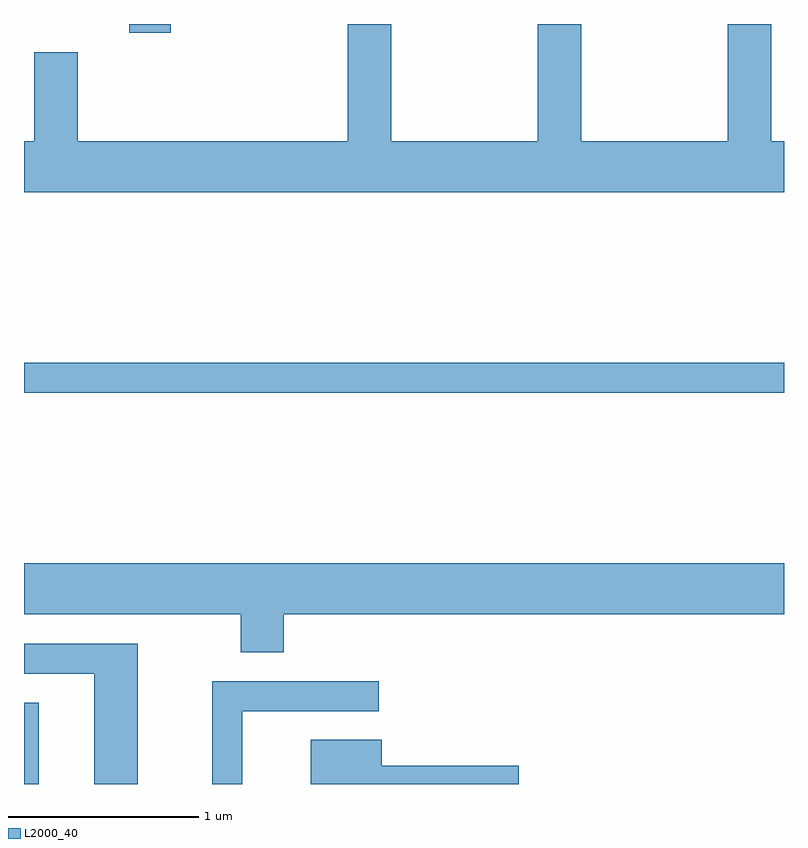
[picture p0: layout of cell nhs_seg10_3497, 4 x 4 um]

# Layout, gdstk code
import gdstk
lib = gdstk.Library(unit=1e-6, precision=1e-09)
def R(c, l, rs):  # rectangles x0, y0, x1, y1
    for r in rs: c.add(gdstk.rectangle(r[:2], r[2:], *l))
def P(c, l, *ps):  # polygons
    for p in ps: c.add(gdstk.Polygon(p, *l))
L2000_40 = (2000, 40)

nhs_seg10_3497 = lib.new_cell('nhs_seg10_3497')
R(nhs_seg10_3497, L2000_40, [(287.611,2168.522,287.689,2168.949), (287.611,2170.581,291.611,2170.739), (288.166,2172.476,288.384,2172.522)])
P(nhs_seg10_3497, L2000_40, [(291.611,2171.904),(291.544,2171.904),(291.544,2172.522),(291.316,2172.522),(291.316,2171.904),(290.544,2171.904),(290.544,2172.522),(290.316,2172.522),(290.316,2171.904),(289.544,2171.904),(289.544,2172.522),(289.316,2172.522),(289.316,2171.904),(287.894,2171.904),(287.894,2172.374),(287.666,2172.374),(287.666,2171.904),(287.611,2171.904),(287.611,2171.636),(291.611,2171.636)],
  [(288.979,2169.416),(291.611,2169.416),(291.611,2169.684),(287.611,2169.684),(287.611,2169.416),(288.751,2169.416),(288.751,2169.216),(288.979,2169.216)],
  [(288.209,2169.259),(287.611,2169.259),(287.611,2169.101),(287.981,2169.101),(287.981,2168.522),(288.209,2168.522)],
  [(288.759,2168.906),(289.478,2168.906),(289.478,2169.064),(288.601,2169.064),(288.601,2168.522),(288.759,2168.522)],
  [(290.214,2168.619),(289.494,2168.619),(289.494,2168.754),(289.121,2168.754),(289.121,2168.522),(290.214,2168.522)])

lib.write_gds('nhs_seg10_3497.gds')
